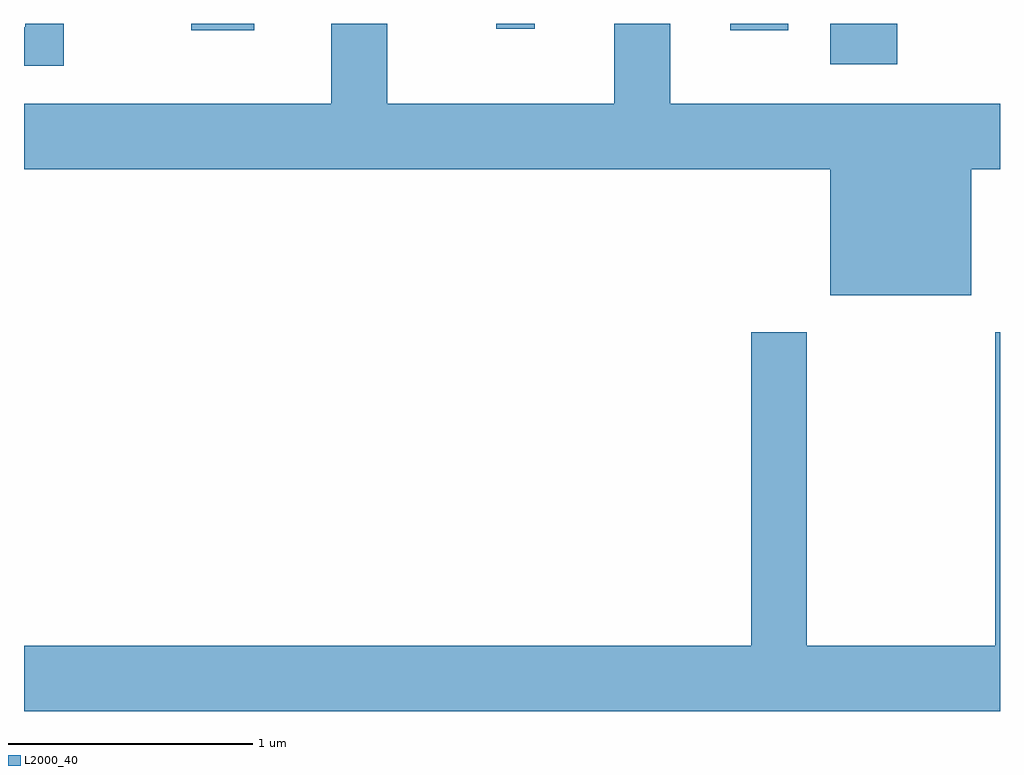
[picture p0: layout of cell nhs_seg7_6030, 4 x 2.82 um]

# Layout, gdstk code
import gdstk
lib = gdstk.Library(unit=1e-6, precision=1e-09)
def R(c, l, rs):  # rectangles x0, y0, x1, y1
    for r in rs: c.add(gdstk.rectangle(r[:2], r[2:], *l))
def P(c, l, *ps):  # polygons
    for p in ps: c.add(gdstk.Polygon(p, *l))
L2000_40 = (2000, 40)

nhs_seg7_6030 = lib.new_cell('nhs_seg7_6030')
R(nhs_seg7_6030, L2000_40, [(372.916,1708.086,373.189,1708.252), (370.296,1708.226,370.554,1708.252), (372.506,1708.226,372.744,1708.252), (371.546,1708.233,371.704,1708.252)])
P(nhs_seg7_6030, L2000_40, [(369.774,1708.252),(369.616,1708.252),(369.616,1708.239),(369.611,1708.239),(369.611,1708.081),(369.774,1708.081)],
  [(372.259,1708.252),(372.031,1708.252),(372.031,1707.924),(371.099,1707.924),(371.099,1708.252),(370.871,1708.252),(370.871,1707.924),(369.611,1707.924),(369.611,1707.656),(372.916,1707.656),(372.916,1707.141),(373.494,1707.141),(373.494,1707.656),(373.611,1707.656),(373.611,1707.924),(372.259,1707.924)],
  [(373.611,1706.989),(373.591,1706.989),(373.591,1705.704),(372.819,1705.704),(372.819,1706.989),(372.591,1706.989),(372.591,1705.704),(369.611,1705.704),(369.611,1705.436),(373.611,1705.436)])

lib.write_gds('nhs_seg7_6030.gds')
